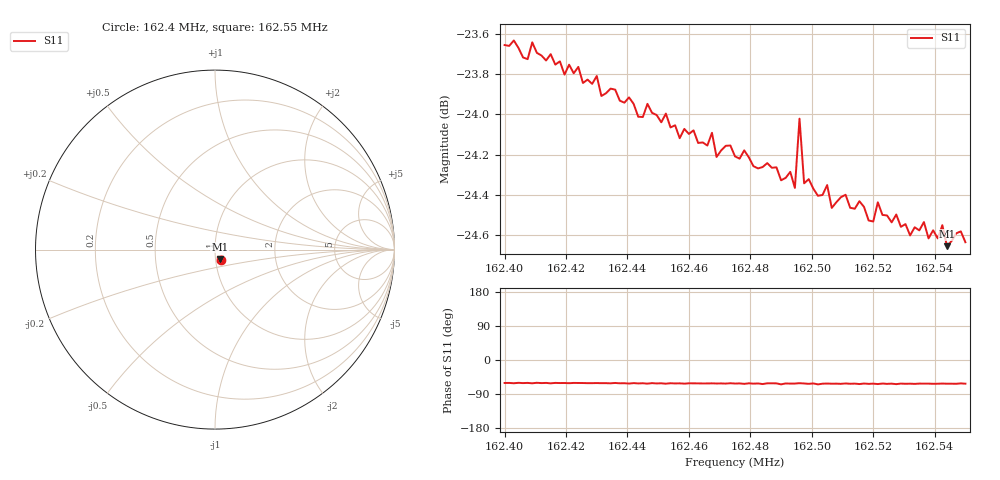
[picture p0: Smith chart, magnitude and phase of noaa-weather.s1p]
! Calibrated averaged scanner-service zoom
# Hz S RI R 50
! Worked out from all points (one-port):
!   101 points, 162.4 MHz to 162.55 MHz, reference 50 ohm
!   lowest |S11| = -24.7 dB at 162.544 MHz (marker M1), VSWR 1.12, Z = 52.5 - j5.47 ohm
!   |S11| at or under -10 dB: start of sweep to end of sweep
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1.624e8  0.0322 -0.0572
1.624075e8  0.0322 -0.0566
1.62409e8  0.0314 -0.0578
1.624195e8  0.0316 -0.0563
1.62424e8  0.0318 -0.0565
1.624255e8  0.0314 -0.0561
1.6243e8  0.0314 -0.0563
1.624315e8  0.0307 -0.0559
1.624375e8  0.0304 -0.0559
1.624525e8  0.0291 -0.056
1.62457e8  0.0296 -0.0548
1.62466e8  0.0292 -0.0547
1.624675e8  0.0297 -0.0549
1.62469e8  0.0289 -0.0544
1.62475e8  0.0288 -0.0545
1.62493e8  0.0284 -0.0541
1.624945e8  0.0282 -0.0535
1.62496e8  0.0303 -0.0552
1.624975e8  0.0285 -0.0535
1.625125e8  0.0274 -0.0532
1.625155e8  0.0268 -0.0537
1.6252e8  0.0275 -0.0526
1.625215e8  0.0268 -0.0537
1.62532e8  0.0272 -0.0522
1.625425e8  0.0276 -0.0524
1.62544e8  0.0269 -0.0519
1.625485e8  0.028 -0.0519
1.6255e8  0.0271 -0.052
